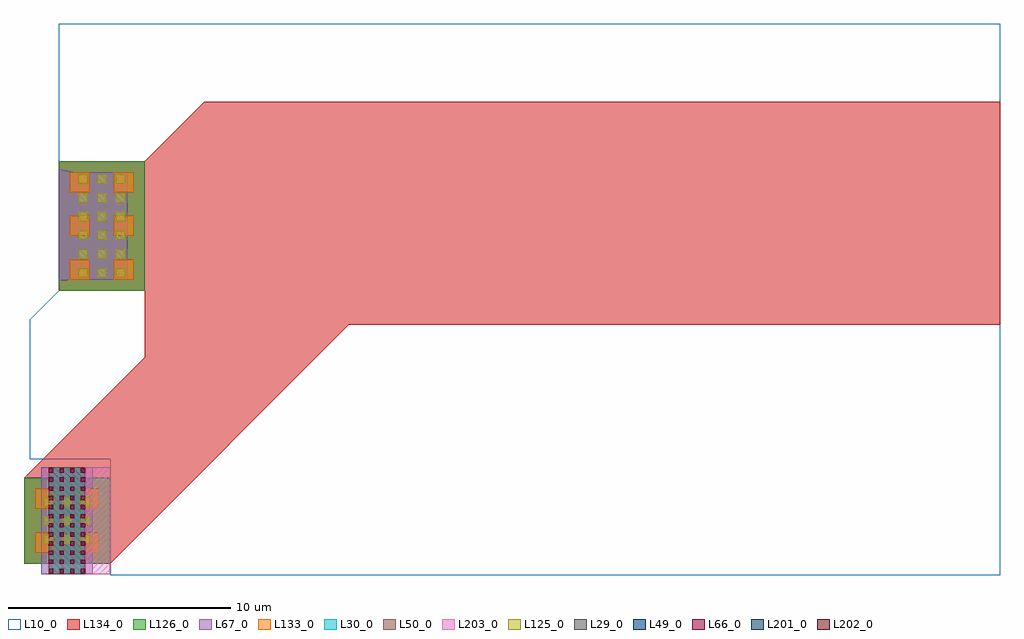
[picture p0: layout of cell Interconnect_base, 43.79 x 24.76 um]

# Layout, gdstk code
import gdstk
lib = gdstk.Library(unit=1e-6, precision=1e-09)
def R(c, l, rs):  # rectangles x0, y0, x1, y1
    for r in rs: c.add(gdstk.rectangle(r[:2], r[2:], *l))
def A(c, l, x, y, w, h, nx, ny, dx, dy):  # array of equal rectangles
    R(c, l, [(x+i*dx, y+j*dy, x+i*dx+w, y+j*dy+h) for i in range(nx) for j in range(ny)])
def P(c, l, *ps):  # polygons
    for p in ps: c.add(gdstk.Polygon(p, *l))
L10_0 = (10, 0)
L29_0 = (29, 0)
L30_0 = (30, 0)
L49_0 = (49, 0)
L50_0 = (50, 0)
L66_0 = (66, 0)
L67_0 = (67, 0)
L125_0 = (125, 0)
L126_0 = (126, 0)
L133_0 = (133, 0)
L134_0 = (134, 0)
L201_0 = (201, 0)
L202_0 = (202, 0)
L203_0 = (203, 0)

interconnect_base = lib.new_cell('Interconnect_base')
R(interconnect_base, L10_0, [(17.325,-8.195,18.965,-3.395)])
P(interconnect_base, L10_0, [(20.075,-8.25),(20.075,-3.035),(16.475,-3.035),(16.475,3.22),(17.775,4.52),(17.775,16.51),(60,16.51),(60,-8.25)])
A(interconnect_base, L29_0, 17.33, -8.145, 0.19, 0.19, 4, 12, 0.48, 0.41)
R(interconnect_base, L30_0, [(17.325,-8.195,18.965,-3.395)])
A(interconnect_base, L49_0, 17.33, -8.145, 0.19, 0.19, 4, 12, 0.48, 0.41)
R(interconnect_base, L50_0, [(17.325,-8.195,18.965,-3.395)])
A(interconnect_base, L66_0, 17.33, -8.145, 0.19, 0.19, 4, 12, 0.48, 0.41)
R(interconnect_base, L67_0, [(16.995,-8.195,19.295,-3.395), (18.555,5.02,20.855,9.84)])
P(interconnect_base, L67_0, [(17.775,4.975),(17.775,9.975),(18.555,9.84),(18.555,5.02)])
A(interconnect_base, L125_0, 17.095, -6.845, 0.42, 0.42, 3, 3, 0.84, 0.84)
A(interconnect_base, L125_0, 18.655, 5.12, 0.42, 0.42, 3, 6, 0.84, 0.84)
R(interconnect_base, L126_0, [(16.215,-7.725,20.075,-3.865), (17.775,4.52,21.635,10.34)])
A(interconnect_base, L133_0, 18.275, 5.02, 0.9, 0.9, 1, 3, 0, 1.96)
A(interconnect_base, L133_0, 20.235, 5.02, 0.9, 0.9, 1, 3, 0, 1.96)
R(interconnect_base, L133_0, [(16.715,-7.225,17.615,-6.325), (18.675,-7.225,19.575,-6.325), (16.715,-5.265,17.615,-4.365), (18.675,-5.265,19.575,-4.365)])
R(interconnect_base, L134_0, [(16.215,-7.725,20.075,-3.865), (27.055,3,60,13), (17.775,4.52,21.635,10.34)])
P(interconnect_base, L134_0, [(16.215,-7.725),(16.215,-3.875),(21.635,1.545),(21.635,10.015),(21.635,10.34),(24.295,13),(30.795,13),(30.795,2.995),(20.075,-7.725)])
P(interconnect_base, L201_0, [(17.775,4.975),(17.775,9.975),(17.775,9.975),(17.775,4.975)])
P(interconnect_base, L202_0, [(60,3),(60,13),(60,13),(60,3)])
R(interconnect_base, L203_0, [(18.965,-8.195,20.075,-3.395)])

lib.write_gds('Interconnect_base.gds')
